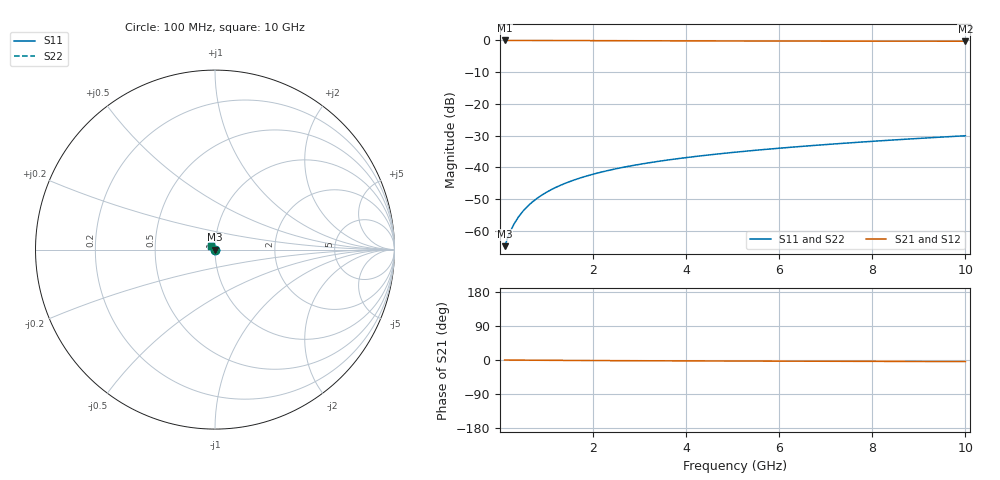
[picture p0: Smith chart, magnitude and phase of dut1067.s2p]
! Touchstone file exported from HFSS 2024.1.0
!  File:  C:/UserFiles/LocalFiles/RDL_TSV_Batchsim/temp_TSV1_1067_1780064156.aedt
!  Generated:  10:22:52 PM May 29, 2026
!  Design:  TSV1
!  Project:  temp_TSV1_1067_1780064156
!  Setup:  Setup1
!  Solution:  Sweep
! Variables:
!  dtsv = 5.25um
!  hbump = 3um
!  htsv = 58.67um
!  lrdl = 252.1521522um
!  p = 40
!  p1 = 50.41um
!  t = 500um
!  trdl = 3um
!  wrdl = 24.89489489um
# GHz S MA R 50.000000
! Terminal data exported
! Port[1] = TSV22_T1
! Port[2] = TSV22_T2
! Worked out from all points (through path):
!   100 points, 100 MHz to 10 GHz, reference 50 ohm
!   highest |S21| = 0.00 dB at 100 MHz (marker M1); lowest = -0.2 dB at 10 GHz (marker M2)
!   lowest |S11| = -64.8 dB at 100 MHz (marker M3), VSWR 1.00, Z = 50 - j0.0419 ohm
!   |S11| at or under -10 dB: start of sweep to end of sweep
!   |S22| runs from -64.8 to -30.0 dB; largest |S21 - S12| = 4e-15
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0.1  0.0005758 -46.7  0.9996 -0.1  0.9996 -0.1  0.0005758 -46.7
! Gamma 0 0 0 0
! Port Impedance 50 0 50 0
0.2  0.0009022 -68.3  0.9995 -0.2  0.9995 -0.2  0.0009022 -68.3
0.3  0.001278 -79.5  0.9994 -0.2  0.9994 -0.2  0.001278 -79.5
0.4  0.001671 -86.6  0.9993 -0.3  0.9993 -0.3  0.001671 -86.6
0.5  0.002071 -91.9  0.9991 -0.4  0.9991 -0.4  0.002071 -91.9
0.6  0.002473 -96.2  0.9989 -0.5  0.9989 -0.5  0.002473 -96.2
0.7  0.002874 -100.0  0.9986 -0.6  0.9986 -0.6  0.002874 -100.0
0.8  0.003274 -103.4  0.9983 -0.6  0.9983 -0.6  0.003274 -103.4
0.9  0.003672 -106.6  0.998 -0.7  0.998 -0.7  0.003672 -106.6
1  0.004067 -109.6  0.9977 -0.8  0.9977 -0.8  0.004067 -109.6
1.2  0.004848 -115.3  0.997 -0.9  0.997 -0.9  0.004848 -115.3
1.5  0.005992 -123.1  0.9958 -1.1  0.9958 -1.1  0.005992 -123.1
1.8  0.007101 -130.4  0.9944 -1.3  0.9944 -1.3  0.007101 -130.4
2.1  0.008174 -137.2  0.993 -1.5  0.993 -1.5  0.008174 -137.2
2.5  0.009551 -145.6  0.9911 -1.7  0.9911 -1.7  0.009552 -145.6
2.9  0.01087 -153.3  0.9892 -1.9  0.9892 -1.9  0.01087 -153.3
3.4  0.01246 -162.1  0.9869 -2.1  0.9869 -2.1  0.01246 -162.1
4.2  0.01488 -174.3  0.9837 -2.4  0.9837 -2.4  0.01488 -174.3
5.1  0.01751 174.3  0.9808 -2.7  0.9808 -2.7  0.01751 174.3
6.7  0.02207 158.6  0.9769 -3.2  0.9769 -3.2  0.02207 158.6
8.4  0.02692 146.5  0.9742 -3.7  0.9742 -3.7  0.02692 146.5
10  0.03156 137.9  0.9723 -4.3  0.9723 -4.3  0.03156 137.9
